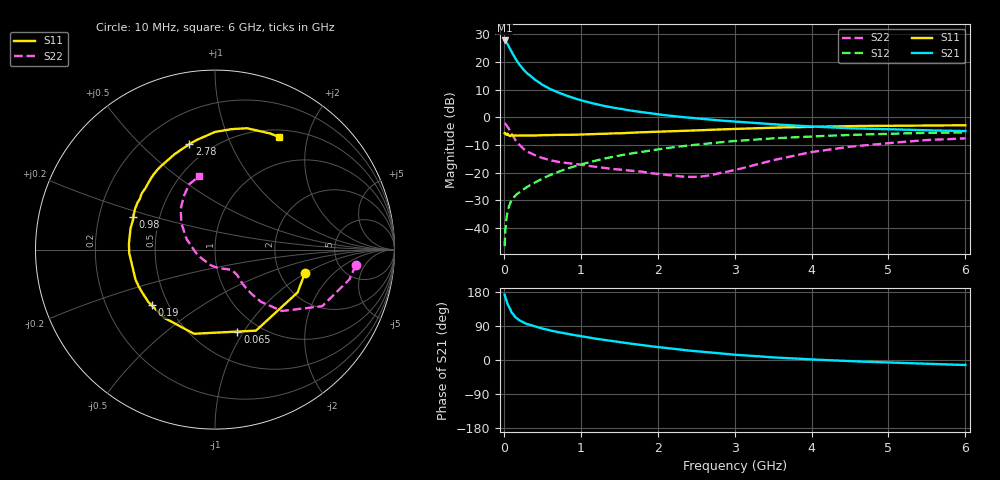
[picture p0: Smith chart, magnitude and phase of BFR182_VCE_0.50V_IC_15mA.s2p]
! Infineon Technologies  Discrete & RF Semiconductors
! BFR182
! VCE = 0.50 V,  IC =  15 mA
! Common Emitter S-Parameters:  Nov 2015
# GHz  S  MA  R  50
!  f  S11  S21  S12  S22
! GHz  MAG  ANG  MAG  ANG  MAG  ANG  MAG  ANG
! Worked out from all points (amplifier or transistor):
!   210 points, 10 MHz to 6 GHz, reference 50 ohm
!   highest |S21| = 27.8 dB at 10 MHz (marker M1)
!   |S21| within 3 dB of that: start of sweep to 79.53 MHz
!   unconditionally stable (mu >= 1): start of sweep to 13.14 MHz; 237.4 MHz to end of sweep
!   at 185 MHz: K = 0.87, MSG = 23.6 dB, |S12| = -27.4 dB
!   at 1.52 GHz: K = 1.32, MAG = 5.0 dB, |S12| = -13.7 dB
!   at 6 GHz: K = 1.10, MAG = -1.7 dB, |S12| = -5.4 dB
!   S11 on the Smith chart (normalised r, x): 10 MHz: 2.77, -0.97; 65 MHz: 0.80, -0.94; 190 MHz: 0.40, -0.32; 980 MHz: 0.35, +0.17; 2.78 GHz: 0.38, +0.71; 6 GHz: 0.60, +1.56
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0.01  0.5182 -14.3  24.66 172.4  0.0047 77.0  0.7893 -6.2
0.02  0.5184 -27.4  23.96 165.0  0.0093 78.2  0.767 -12.5
0.05  0.5059 -63.2  21.09 146.4  0.0208 66.2  0.6756 -27.8
0.065  0.4735 -74.7  19.16 141.4  0.0241 62.3  0.621 -31.4
0.1  0.4833 -104.0  15.45 125.2  0.0322 56.4  0.5063 -42.5
0.15  0.4739 -126.8  11.6 112.8  0.0388 53.6  0.3887 -48.6
0.19  0.4701 -138.7  9.63 106.8  0.0431 54.3  0.3354 -50.0
0.2  0.4724 -141.7  9.16 104.9  0.0442 54.4  0.3221 -50.4
0.24  0.4711 -150.1  7.785 100.4  0.0483 55.1  0.2835 -50.9
0.3  0.4734 -159.3  6.33 94.9  0.0551 57.2  0.2427 -51.1
0.4  0.4708 -170.3  4.859 88.6  0.066 59.6  0.2082 -49.7
0.5  0.4784 -177.9  3.897 83.0  0.0778 61.5  0.1846 -48.9
0.7  0.4818 170.2  2.852 73.7  0.1027 63.2  0.1575 -49.7
0.98  0.4906 158.1  2.087 63.6  0.138 62.6  0.1408 -52.7
1.02  0.4935 156.4  2.011 62.3  0.143 62.3  0.1383 -53.6
1.4  0.5145 142.6  1.519 50.4  0.1914 59.2  0.1173 -65.6
2.02  0.553 123.5  1.129 33.7  0.2671 52.0  0.0948 -94.2
2.78  0.6048 103.7  0.888 18.1  0.3519 41.6  0.0968 -158.0
3.1  0.6253 97.4  0.822 12.6  0.3824 36.9  0.1208 178.4
4.1  0.6814 80.6  0.676 0.6  0.4604 22.7  0.2472 139.5
5.1  0.7068 68.7  0.607 -7.2  0.5109 10.3  0.3523 118.6
6  0.7215 60.3  0.567 -13.2  0.5364 -0.8  0.419 102.0
